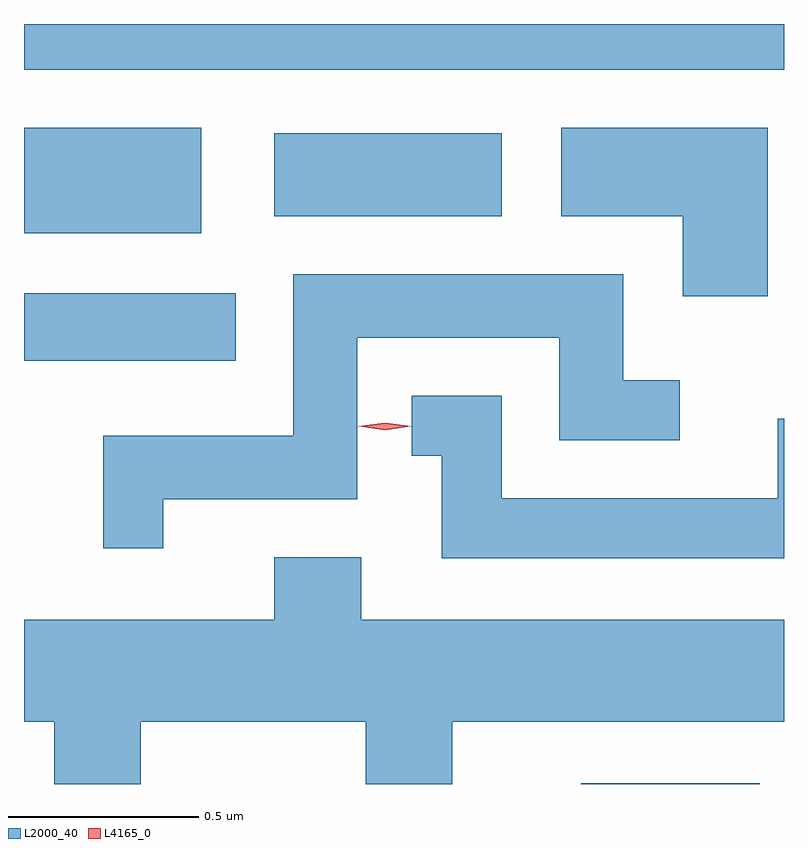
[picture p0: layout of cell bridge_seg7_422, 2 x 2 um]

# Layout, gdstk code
import gdstk
lib = gdstk.Library(unit=1e-6, precision=1e-09)
def R(c, l, rs):  # rectangles x0, y0, x1, y1
    for r in rs: c.add(gdstk.rectangle(r[:2], r[2:], *l))
def P(c, l, *ps):  # polygons
    for p in ps: c.add(gdstk.Polygon(p, *l))
L2000_40 = (2000, 40)
L4165_0 = (4165, 0)

bridge_seg7_422 = lib.new_cell('bridge_seg7_422')
R(bridge_seg7_422, L2000_40, [(1098.522,1719.706,1099.079,1719.884), (1098.522,1720.041,1098.989,1720.319), (1099.181,1720.086,1099.779,1720.304), (1098.522,1720.471,1100.522,1720.592)])
P(bridge_seg7_422, L2000_40, [(1100.479,1720.319),(1099.936,1720.319),(1099.936,1720.086),(1100.256,1720.086),(1100.256,1719.876),(1100.479,1719.876)],
  [(1098.889,1719.341),(1099.399,1719.341),(1099.399,1719.766),(1099.931,1719.766),(1099.931,1719.496),(1100.248,1719.496),(1100.248,1719.654),(1100.099,1719.654),(1100.099,1719.934),(1099.231,1719.934),(1099.231,1719.509),(1098.731,1719.509),(1098.731,1719.213),(1098.889,1719.213)],
  [(1100.522,1719.553),(1100.506,1719.553),(1100.506,1719.344),(1099.779,1719.344),(1099.779,1719.614),(1099.543,1719.614),(1099.543,1719.456),(1099.621,1719.456),(1099.621,1719.186),(1100.522,1719.186)],
  [(1098.829,1718.756),(1099.421,1718.756),(1099.421,1718.592),(1099.649,1718.592),(1099.649,1718.756),(1100.522,1718.756),(1100.522,1719.024),(1099.409,1719.024),(1099.409,1719.189),(1099.181,1719.189),(1099.181,1719.024),(1098.522,1719.024),(1098.522,1718.756),(1098.601,1718.756),(1098.601,1718.592),(1098.829,1718.592)],
  [(1100.458,1718.594),(1099.989,1718.594),(1099.987,1718.592),(1100.458,1718.592)])
P(bridge_seg7_422, L4165_0, [(1099.472,1719.523),(1099.402,1719.533),(1099.402,1719.533),(1099.402,1719.534),(1099.472,1719.543),(1099.541,1719.534),(1099.541,1719.533),(1099.541,1719.533)])

lib.write_gds('bridge_seg7_422.gds')
